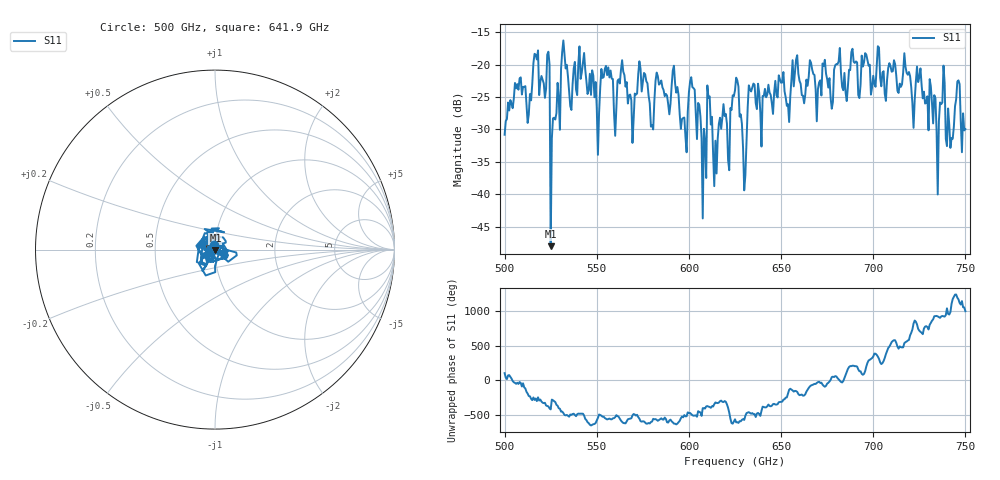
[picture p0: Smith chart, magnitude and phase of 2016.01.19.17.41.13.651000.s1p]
!Created with skrf (http://scikit-rf.org).
# GHz S RI R 50.0
!freq ReS11 ImS11
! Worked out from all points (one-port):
!   401 points, 500 GHz to 750 GHz, reference 50 ohm
!   lowest |S11| = -48.0 dB at 525 GHz (marker M1), VSWR 1.01, Z = 50.2 - j0.338 ohm
!   |S11| at or under -10 dB: start of sweep to end of sweep
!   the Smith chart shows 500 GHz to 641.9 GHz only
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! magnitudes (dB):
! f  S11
! 500 GHz  -30.8
! 507.5 GHz  -23.9
! 513.1 GHz  -27.7
! 516.9 GHz  -18.5
! 523.1 GHz  -18.5
! 525 GHz  -48.0
! 526.2 GHz  -28.3
! 531.2 GHz  -18.0
! 550 GHz  -26.7
! 562.5 GHz  -22.9
! 568.8 GHz  -25.5
! 573.8 GHz  -20.6
! 580 GHz  -29.3
! 583.1 GHz  -21.8
! 593.8 GHz  -23.5
! 597.5 GHz  -28.2
! 601.9 GHz  -23.5
! 608.1 GHz  -29.9
! 611.2 GHz  -24.9
! 614.4 GHz  -31.7
! 625 GHz  -24.0
! 630 GHz  -39.4
! 633.8 GHz  -24.2
! 656.2 GHz  -19.3
! 687.5 GHz  -20.9
! 718.8 GHz  -21.6
! 733.8 GHz  -25.2
! 750 GHz  -30.0
